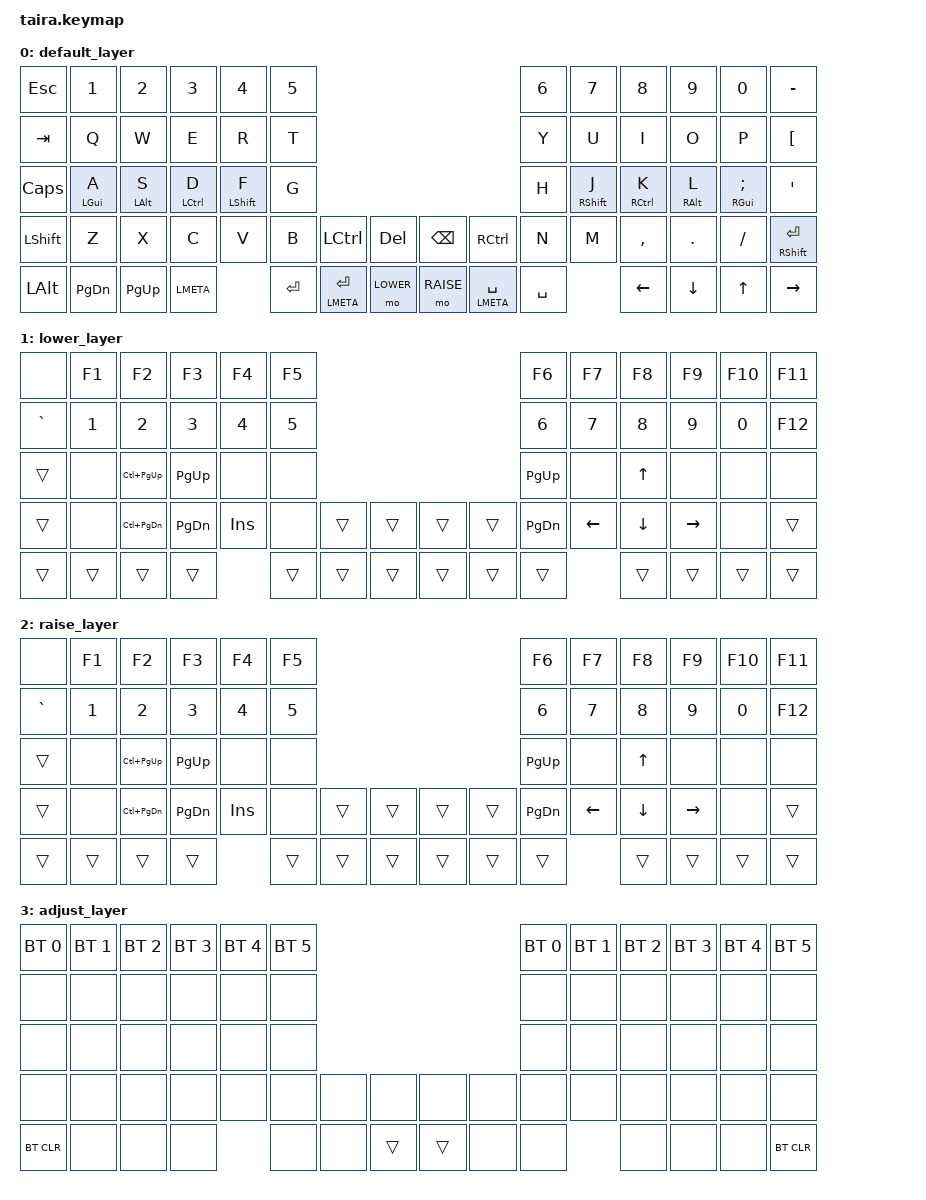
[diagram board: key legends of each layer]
/*
 * Copyright (c) 2020 The ZMK Contributors
 *
 * SPDX-License-Identifier: MIT
 */

#include <behaviors.dtsi>
#include <dt-bindings/zmk/keys.h>
#include <dt-bindings/zmk/outputs.h>
#include <dt-bindings/zmk/bt.h>

#define DEFAULT 0
#define LOWER   1
#define RAISE   2
#define ADJUST  3

#define PTAB LC(PG_UP)
#define NTAB LC(PG_DN)

&mt {
  quick-tap-ms = <100>;
  global-quick-tap;
  flavor = "tap-preferred";
  tapping-term-ms = <170>;
};

/ {

        conditional_layers {
                compatible = "zmk,conditional-layers";

                tri_layer {
                        if-layers  = <1 2>;
                        then-layer = <3>;
                };
        };
    behaviors {
        // This is mod-tap with the "balanced" flavor.
        // Improves the '&mt RCTRL SPACE' behavior when typing quickly.
        bmt: balanced_mod_tap {
                compatible = "zmk,behavior-hold-tap";
                label = "MOD_TAP";
                #binding-cells = <2>;
                flavor = "balanced";
                tapping-term-ms = <200>;
                bindings = <&kp>, <&kp>;
        };
    };

        keymap {
                compatible = "zmk,keymap";

                default_layer {
                        bindings = <
// +-----------+----------+-----------+-----------+----------+--------+                                                             +--------+----------+-----------+----------+-------------+----------------+
// |           |          |           |           |          |        |                                                             |        |          |           |          |             |                |
   &kp  ESC    &kp  N1    &kp  N2     &kp  N3     &kp  N4    &kp  N5                                                                &kp  N6  &kp  N7    &kp  N8     &kp  N9    &kp  N0       &kp  MINUS
   &kp  TAB    &kp  Q     &kp  W      &kp  E      &kp  R     &kp  T                                                                 &kp  Y   &kp  U     &kp  I      &kp  O     &kp  P        &kp  LEFT_BRACKET
   &kp  CAPS   &mt LGUI A &mt LALT S  &mt LCTRL D &mt LSHFT F &kp G    /*-------------+-------------+  +-------------+-----------*/ &kp H    &mt RSHFT J &mt RCTRL K &mt RALT L &mt RGUI SEMI &kp SQT
   &kp  LSHFT  &kp  Z     &kp  X      &kp  C      &kp  V     &kp  B    &kp  LCTRL     &kp  DEL         &kp  BSPC     &kp  RCTRL     &kp  N   &kp  M     &kp  COMMA  &kp  DOT   &kp  SLASH    &mt  RSHFT ENTER
   &kp  LALT   &kp PG_DN  &kp  PG_UP  &kp  LMETA             &kp RET   &bmt LMETA RET &mo  LOWER       &mo  RAISE    &bmt LMETA SPC &kp SPC             &kp  LEFT   &kp  DOWN  &kp  UP       &kp  RIGHT
// |           |          |           |                      |         |              |             |  |             |              |                   |           |          |             |                 |
// +-----------+----------+-----------+----------------------+---------+--------------+-------------+  +-------------+--------------+-------------------+-----------+----------+-------------+-----------------+
                        >;
                };

                lower_layer {
                        bindings = <
// +-----------+----------+-----------+-----------+----------+--------+                                                             +--------+----------+-----------+----------+-------------+----------------+
// |           |          |           |           |          |        |                                                             |        |          |           |          |             |                |
   &none       &kp  F1    &kp  F2     &kp  F3     &kp  F4    &kp  F5                                                                &kp  F6  &kp  F7    &kp  F8     &kp  F9    &kp  F10      &kp  F11
   &kp  GRAVE  &kp  N1    &kp  N2     &kp  N3     &kp  N4    &kp  N5                                                                &kp  N6  &kp  N7    &kp  N8     &kp  N9    &kp  N0       &kp  F12
   &trans      &none      &kp PTAB    &kp PG_UP   &none      &none     /*-------------+-------------+  +-------------+-----------*/ &kp PG_UP &none     &kp UP    &none        &none         &none
   &trans      &none      &kp NTAB    &kp PG_DN   &kp INS    &none     &trans         &trans           &trans        &trans         &kp PG_DN &kp LEFT  &kp DOWN  &kp RIGHT    &none         &trans
   &trans      &trans     &trans      &trans                 &trans    &trans         &trans           &trans        &trans         &trans              &trans      &trans     &trans        &trans
// |           |          |           |                      |         |              |             |  |             |              |                   |           |          |             |                 |
// +-----------+----------+-----------+----------------------+---------+--------------+-------------+  +-------------+--------------+-------------------+-----------+----------+-------------+-----------------+
                        >;
                };

                raise_layer { /* same as lower_layer */
                        bindings = <
// +-----------+----------+-----------+-----------+----------+--------+                                                             +--------+----------+-----------+----------+-------------+----------------+
// |           |          |           |           |          |        |                                                             |        |          |           |          |             |                |
   &none       &kp  F1    &kp  F2     &kp  F3     &kp  F4    &kp  F5                                                                &kp  F6  &kp  F7    &kp  F8     &kp  F9    &kp  F10      &kp  F11
   &kp  GRAVE  &kp  N1    &kp  N2     &kp  N3     &kp  N4    &kp  N5                                                                &kp  N6  &kp  N7    &kp  N8     &kp  N9    &kp  N0       &kp  F12
   &trans      &none      &kp PTAB    &kp PG_UP   &none      &none     /*-------------+-------------+  +-------------+-----------*/ &kp PG_UP &none     &kp UP    &none        &none         &none
   &trans      &none      &kp NTAB    &kp PG_DN   &kp INS    &none     &trans         &trans           &trans        &trans         &kp PG_DN &kp LEFT  &kp DOWN  &kp RIGHT    &none         &trans
   &trans      &trans     &trans      &trans                 &trans    &trans         &trans           &trans        &trans         &trans              &trans      &trans     &trans        &trans
// |           |          |           |                      |         |              |             |  |             |              |                   |           |          |             |                 |
// +-----------+----------+-----------+----------------------+---------+--------------+-------------+  +-------------+--------------+-------------------+-----------+----------+-------------+-----------------+
                        >;
                };

                adjust_layer {
                        bindings = <
&bt BT_SEL 0 &bt BT_SEL 1 &bt BT_SEL 2 &bt BT_SEL 3 &bt BT_SEL 4 &bt BT_SEL 5                                                                          &bt BT_SEL 0 &bt BT_SEL 1 &bt BT_SEL 2 &bt BT_SEL 3 &bt BT_SEL 4 &bt BT_SEL 5
&none        &none        &none        &none        &none        &none                                                                                 &none        &none        &none        &none        &none        &none
&none        &none        &none        &none        &none        &none                                                                                 &none        &none        &none        &none        &none        &none
&none        &none        &none        &none        &none        &none                     &none       &none         &none       &none                 &none        &none        &none        &none        &none        &none
&bt BT_CLR   &none        &none        &none                                     &none     &none       &trans        &trans      &none     &none                                 &none        &none        &none        &bt BT_CLR
                        >;
                };
        };
};
